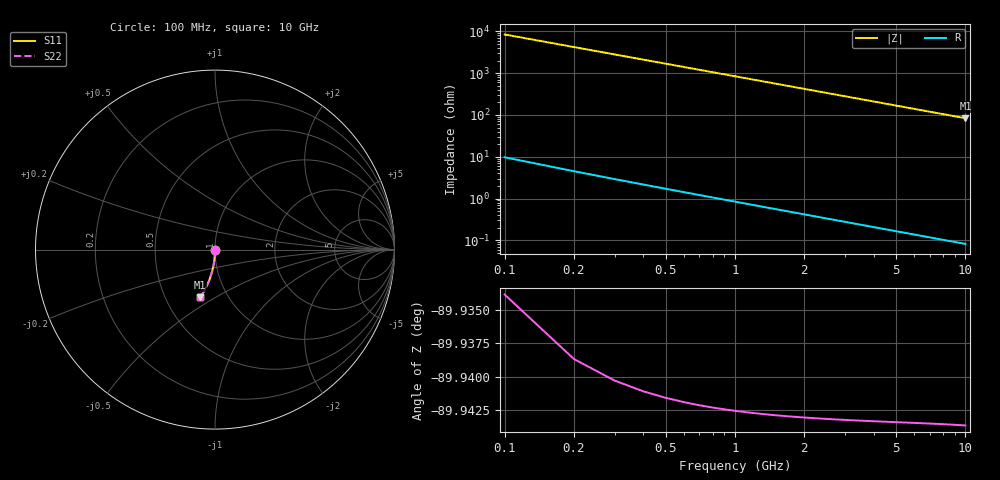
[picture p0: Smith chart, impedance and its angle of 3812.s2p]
# Hz S RI R 50.00
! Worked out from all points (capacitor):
!   100 points, 100 MHz to 10 GHz, reference 50 ohm
!   read as one part in shunt: C = 189 fF near 100 MHz
!   lowest |Z| = 83.6 ohm at 10 GHz (marker M1)
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1e8  1.18e-05 -0.00288  1 -0.00305  1 -0.00305  1.18e-05 -0.00288
2e8  -1.73e-05 -0.00576  0.9999 -0.00611  0.9999 -0.00611  -1.73e-05 -0.00576
3e8  -6.41e-05 -0.00864  0.9999 -0.00916  0.9999 -0.00916  -6.41e-05 -0.00864
4e8  -0.000128 -0.0115  0.9998 -0.0122  0.9998 -0.0122  -0.000128 -0.0115
5e8  -0.00021 -0.0144  0.9997 -0.0153  0.9997 -0.0153  -0.00021 -0.0144
6e8  -0.00031 -0.0173  0.9996 -0.0183  0.9996 -0.0183  -0.00031 -0.0173
7e8  -0.000427 -0.0202  0.9995 -0.0214  0.9995 -0.0214  -0.000427 -0.0202
8e8  -0.000562 -0.023  0.9994 -0.0244  0.9994 -0.0244  -0.000562 -0.023
9e8  -0.000714 -0.0259  0.9992 -0.0275  0.9992 -0.0275  -0.000714 -0.0259
1.1e9  -0.00107 -0.0317  0.9989 -0.0336  0.9989 -0.0336  -0.00107 -0.0317
1.4e9  -0.00174 -0.0403  0.9982 -0.0427  0.9982 -0.0427  -0.00174 -0.0403
1.8e9  -0.00287 -0.0517  0.9971 -0.0549  0.9971 -0.0549  -0.00287 -0.0517
2.1e9  -0.00391 -0.0603  0.996 -0.064  0.996 -0.064  -0.00391 -0.0603
2.5e9  -0.00553 -0.0717  0.9944 -0.0761  0.9944 -0.0761  -0.00553 -0.0717
2.9e9  -0.00743 -0.0831  0.9925 -0.0881  0.9925 -0.0881  -0.00743 -0.0831
3.4e9  -0.0102 -0.0972  0.9897 -0.1031  0.9897 -0.1031  -0.0102 -0.0972
4.2e9  -0.0155 -0.1195  0.9844 -0.1268  0.9844 -0.1268  -0.0155 -0.1195
5.1e9  -0.0227 -0.1441  0.9772 -0.1531  0.9772 -0.1531  -0.0227 -0.1441
5.9e9  -0.0302 -0.1656  0.9697 -0.176  0.9697 -0.176  -0.0302 -0.1656
6.7e9  -0.0387 -0.1865  0.9612 -0.1983  0.9612 -0.1983  -0.0387 -0.1865
8.4e9  -0.0596 -0.229  0.9402 -0.2439  0.9402 -0.2439  -0.0596 -0.229
1e10  -0.0827 -0.2661  0.9171 -0.284  0.9171 -0.284  -0.0827 -0.2661
